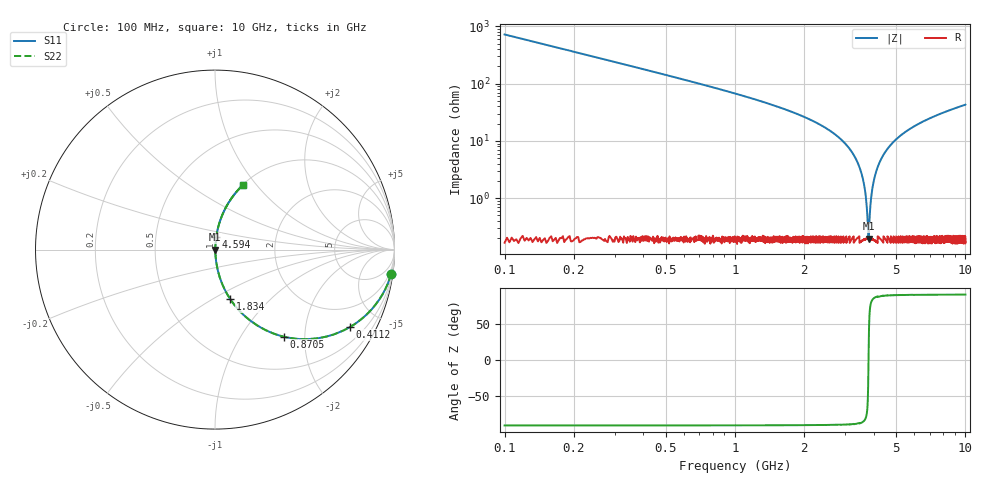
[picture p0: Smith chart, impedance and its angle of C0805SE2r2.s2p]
! AVX Thin Film Operation		Date: April 2012
! Description: Accu-P® Series, Thin Film, SMD, RF Capacitor
! Part Number: 08051J2R2QBTTR
!	100	MHz	-	10.05	GHz
!	Serial	Measurements
#	MHZ	S	MA	R	50
!	S11	S21	S12	S22
!	dB	Phase	dB	Phase	dB	Phase	dB	Phase
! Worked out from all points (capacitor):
!   4010 points, 100 MHz to 10 GHz, reference 50 ohm
!   read as one part in series: C = 2.2 pF near 149.4 MHz
!   lowest |Z| = 196 mohm at 3.799 GHz (marker M1)
!   series resonance near 3.798 GHz, so ESL is about 800 pH
!   S11 on the Smith chart (normalised r, x): 100 MHz: 1, -14; 411.1 MHz: 1.01, -3.48; 870.5 MHz: 1.00, -1.58; 1.834 GHz: 1.00, -0.60; 4.594 GHz: 1.00, +0.15; 10 GHz: 1.00, +0.86
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100  0.991 -7.9  0.137 82.1  0.137 82.1  0.991 -7.9
243.228  0.947 -18.7  0.32 71.3  0.32 71.3  0.947 -18.7
411.15  0.866 -29.9  0.498 60.1  0.498 60.1  0.866 -29.9
870.466  0.618 -51.7  0.785 38.2  0.785 38.2  0.618 -51.7
1255.7  0.456 -62.7  0.888 27.1  0.888 27.1  0.456 -62.7
1752.058  0.309 -71.7  0.949 18.0  0.949 18.0  0.309 -71.7
1833.55  0.289 -72.8  0.955 16.8  0.955 16.8  0.289 -72.8
2855.899  0.109 -82.7  0.992 6.3  0.992 6.3  0.109 -82.7
3401.646  0.042 -85.0  0.997 2.4  0.997 2.4  0.042 -85.0
3636.243  0.017 -82.5  0.998 0.9  0.998 0.9  0.017 -82.5
3702.918  0.00983 -78.3  0.998 0.6  0.998 0.6  0.00983 -78.3
3769.593  0.00343 -56.2  0.998 0.2  0.998 0.2  0.00343 -56.2
3799.227  0.00191 3.6  0.998 -0.0  0.998 -0.0  0.00191 3.6
3828.86  0.00362 58.1  0.998 -0.2  0.998 -0.2  0.00362 58.1
3920.229  0.012 80.3  0.998 -0.7  0.998 -0.7  0.012 80.3
4048.641  0.024 84.1  0.998 -1.4  0.998 -1.4  0.024 84.1
4263.482  0.044 85.0  0.997 -2.5  0.997 -2.5  0.044 85.0
4594.388  0.073 84.3  0.995 -4.2  0.995 -4.2  0.073 84.3
5051.235  0.109 82.7  0.992 -6.3  0.992 -6.3  0.109 82.7
6700.823  0.222 76.7  0.973 -12.8  0.973 -12.8  0.222 76.7
8350.412  0.315 71.3  0.947 -18.3  0.947 -18.3  0.315 71.3
10000  0.394 66.6  0.917 -23.2  0.917 -23.2  0.394 66.6
